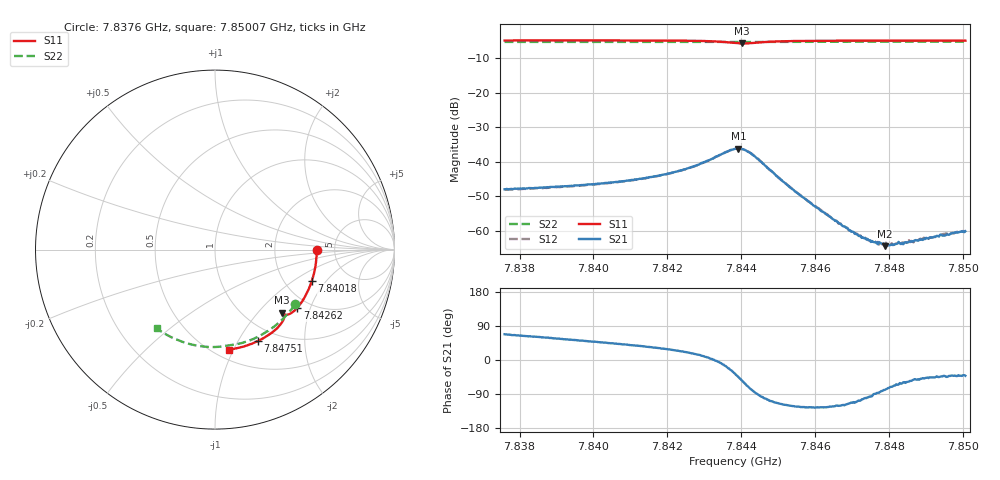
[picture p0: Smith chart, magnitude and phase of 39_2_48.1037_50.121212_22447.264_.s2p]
#  HZ  S  RI  R  50.00
! Rohde & Schwarz Vector Network Analyzer
! Rohde-Schwarz,ZNB20-2Port,1311601062101988,3.16
! Created: UTC 12/23/2023, 3:38:32 AM
! freq[Hz]  re:S11  im:S11  re:S21  im:S21  re:S12  im:S12  re:S22  im:S22
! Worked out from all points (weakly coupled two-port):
!   401 points, 7.8376 GHz to 7.85007 GHz, reference 50 ohm
!   highest |S21| = -36.19 dB at 7.84392 GHz (marker M1); lowest = -64.4 dB at 7.84788 GHz (marker M2)
!   lowest |S11| = -5.8 dB at 7.84402 GHz (marker M3), VSWR 3.11, Z = 71.4 - j68.2 ohm
!   |S11| at or under -10 dB: nowhere
!   |S22| runs from -5.4 to -5.3 dB; largest |S21 - S12| = 0.00033
!   S11 on the Smith chart (normalised r, x): 7.8376 GHz: 3.61, -0.05; 7.84018 GHz: 2.79, -1.44; 7.84262 GHz: 1.72, -1.63; 7.84751 GHz: 0.82, -1.22; 7.85007 GHz: 0.59, -0.96
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7.837595e9  0.5665 -0.00477  0.0015 0.00372  0.00152 0.00367  0.4449 -0.3057
7.839684e9  0.5487 -0.1427  0.0029 0.0036  0.00287 0.00355  0.3473 -0.4144
7.840183e9  0.5393 -0.1751  0.00333 0.00355  0.00328 0.00354  0.3199 -0.4361
7.841119e9  0.5157 -0.2342  0.00435 0.00344  0.00431 0.00344  0.2648 -0.4718
7.841773e9  0.4942 -0.2746  0.00541 0.0033  0.00537 0.00332  0.2239 -0.493
7.842615e9  0.4584 -0.3247  0.00783 0.00267  0.00779 0.00268  0.1686 -0.5146
7.843364e9  0.4108 -0.3608  0.0121 -0.000898  0.0121 -0.000695  0.1176 -0.5275
7.843831e9  0.3769 -0.3591  0.0124 -0.00911  0.0124 -0.00909  0.0865 -0.532
7.843925e9  0.3744 -0.3551  0.0109 -0.011  0.0109 -0.0108  0.0804 -0.5328
7.844018e9  0.3741 -0.3517  0.00891 -0.0124  0.009 -0.0124  0.0746 -0.5338
7.844299e9  0.3828 -0.3532  0.00221 -0.0125  0.00236 -0.0127  0.0569 -0.5369
7.84511e9  0.3723 -0.4073  -0.00239 -0.00475  -0.00236 -0.00474  0.000489 -0.5427
7.84592e9  0.3319 -0.4506  -0.00139 -0.002  -0.00143 -0.00198  -0.0568 -0.5408
7.846949e9  0.2733 -0.4915  -0.000411 -0.000939  -0.000424 -0.000918  -0.1283 -0.5291
7.84723e9  0.2567 -0.5008  -0.000247 -0.000813  -0.000245 -0.000824  -0.1474 -0.5242
7.847511e9  0.2396 -0.5092  -7.89e-05 -0.000691  -6.59e-05 -0.000719  -0.1664 -0.5188
7.847791e9  0.2224 -0.5172  9.25e-05 -0.000657  0.000107 -0.000667  -0.1849 -0.5126
7.847885e9  0.2166 -0.5196  0.000116 -0.000594  0.000135 -0.000617  -0.1912 -0.5102
7.848009e9  0.2089 -0.523  0.000181 -0.000593  0.00018 -0.000592  -0.1995 -0.5072
7.848695e9  0.1654 -0.5381  0.000467 -0.000564  0.00046 -0.000576  -0.2436 -0.4882
7.849506e9  0.1131 -0.5514  0.000639 -0.000577  0.000654 -0.000626  -0.2933 -0.4606
7.850067e9  0.076 -0.5575  0.000743 -0.000662  0.000754 -0.000672  -0.3258 -0.4384
